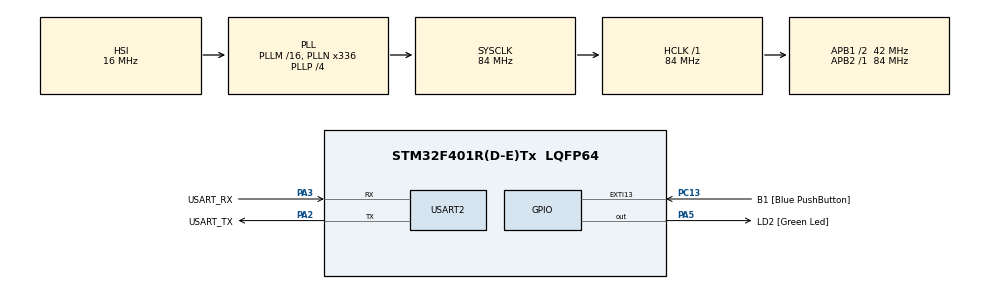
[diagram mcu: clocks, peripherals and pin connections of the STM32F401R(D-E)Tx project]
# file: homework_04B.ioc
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Dma.Request0=USART2_RX
Dma.Request1=USART2_TX
Dma.USART2_RX.0.Direction=DMA_PERIPH_TO_MEMORY
Dma.USART2_RX.0.FIFOMode=DMA_FIFOMODE_DISABLE
Dma.USART2_RX.0.Instance=DMA1_Stream5
Dma.USART2_RX.0.MemDataAlignment=DMA_MDATAALIGN_BYTE
Dma.USART2_RX.0.MemInc=DMA_MINC_ENABLE
Dma.USART2_RX.0.Mode=DMA_NORMAL
Dma.USART2_RX.0.PeriphDataAlignment=DMA_PDATAALIGN_BYTE
Dma.USART2_RX.0.PeriphInc=DMA_PINC_DISABLE
Dma.USART2_RX.0.Priority=DMA_PRIORITY_LOW
Dma.USART2_TX.1.Direction=DMA_MEMORY_TO_PERIPH
Dma.USART2_TX.1.FIFOMode=DMA_FIFOMODE_DISABLE
Dma.USART2_TX.1.Instance=DMA1_Stream6
Dma.USART2_TX.1.MemDataAlignment=DMA_MDATAALIGN_BYTE
Dma.USART2_TX.1.MemInc=DMA_MINC_ENABLE
Dma.USART2_TX.1.Mode=DMA_NORMAL
Dma.USART2_TX.1.PeriphDataAlignment=DMA_PDATAALIGN_BYTE
Dma.USART2_TX.1.PeriphInc=DMA_PINC_DISABLE
Dma.USART2_TX.1.Priority=DMA_PRIORITY_LOW
Mcu.Family=STM32F4
Mcu.Name=STM32F401R(D-E)Tx
Mcu.Package=LQFP64
NVIC.DMA1_Stream5_IRQn=true\:0\:0\:false\:false\:true\:false\:true\:true
NVIC.DMA1_Stream6_IRQn=true\:0\:0\:false\:false\:true\:false\:true\:true
NVIC.EXTI15_10_IRQn=true\:0\:0\:false\:false\:true\:true\:true\:true
NVIC.PriorityGroup=NVIC_PRIORITYGROUP_4
NVIC.USART2_IRQn=true\:0\:0\:false\:false\:true\:true\:true\:true
PA13.GPIO_Label=TMS
PA13.Mode=Trace_Asynchronous_SW
PA13.Signal=SYS_JTMS-SWDIO
PA14.GPIO_Label=TCK
PA14.Mode=Trace_Asynchronous_SW
PA14.Signal=SYS_JTCK-SWCLK
PA2.GPIO_Label=USART_TX
PA2.GPIO_Mode=GPIO_MODE_AF_PP
PA2.GPIO_PuPd=GPIO_NOPULL
PA2.GPIO_Speed=GPIO_SPEED_FREQ_LOW
PA2.Mode=Asynchronous
PA2.Signal=USART2_TX
PA3.GPIO_Label=USART_RX
PA3.GPIO_Mode=GPIO_MODE_AF_PP
PA3.GPIO_PuPd=GPIO_NOPULL
PA3.GPIO_Speed=GPIO_SPEED_FREQ_LOW
PA3.Mode=Asynchronous
PA3.Signal=USART2_RX
PA5.GPIO_Label=LD2 [Green Led]
PA5.GPIO_Mode=GPIO_MODE_OUTPUT_PP
PA5.GPIO_PuPd=GPIO_NOPULL
PA5.GPIO_Speed=GPIO_SPEED_FREQ_LOW
PA5.Signal=GPIO_Output
PB3.GPIO_Label=SWO
PB3.Mode=Trace_Asynchronous_SW
PB3.Signal=SYS_JTDO-SWO
PC13-ANTI_TAMP.GPIO_Label=B1 [Blue PushButton]
PC13-ANTI_TAMP.GPIO_ModeDefaultEXTI=GPIO_MODE_IT_FALLING
PC13-ANTI_TAMP.GPIO_PuPd=GPIO_NOPULL
PC13-ANTI_TAMP.Signal=GPXTI13
PC14-OSC32_IN.Mode=LSE-External-Oscillator
PC14-OSC32_IN.Signal=RCC_OSC32_IN
PC15-OSC32_OUT.Mode=LSE-External-Oscillator
PC15-OSC32_OUT.Signal=RCC_OSC32_OUT
PH0\ -\ OSC_IN.Mode=HSE-External-Clock-Source
PH0\ -\ OSC_IN.Signal=RCC_OSC_IN
PH1\ -\ OSC_OUT.Mode=HSE-External-Clock-Source
PH1\ -\ OSC_OUT.Signal=RCC_OSC_OUT
ProjectManager.HeapSize=0x200
ProjectManager.StackSize=0x400
ProjectManager.TargetToolchain=CMake
RCC.48MHZClocksFreq_Value=48000000
RCC.AHBFreq_Value=84000000
RCC.APB1CLKDivider=RCC_HCLK_DIV2
RCC.APB1Freq_Value=42000000
RCC.APB1TimFreq_Value=84000000
RCC.APB2Freq_Value=84000000
RCC.APB2TimFreq_Value=84000000
RCC.CortexFreq_Value=84000000
RCC.HCLKFreq_Value=84000000
RCC.HSE_VALUE=8000000
RCC.HSI_VALUE=16000000
RCC.PLLN=336
RCC.PLLP=RCC_PLLP_DIV4
RCC.PLLQ=7
RCC.SYSCLKFreq_VALUE=84000000
RCC.SYSCLKSource=RCC_SYSCLKSOURCE_PLLCLK
RCC.VCOOutputFreq_Value=336000000
USART2.VirtualMode=VM_ASYNC
board=NUCLEO-F401RE

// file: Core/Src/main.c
/* USER CODE BEGIN Header */
/**
  ******************************************************************************
  * @file           : main.c
  * @brief          : Main program body
  ******************************************************************************
  * @attention
  *
  * Copyright (c) 2026 STMicroelectronics.
  * All rights reserved.
  *
  * This software is licensed under terms that can be found in the LICENSE file
  * in the root directory of this software component.
  * If no LICENSE file comes with this software, it is provided AS-IS.
  *
  ******************************************************************************
  */
/* USER CODE END Header */
#include "main.h"

/* USER CODE BEGIN Includes */
#include <string.h>
#include <stdio.h>
/* USER CODE END Includes */

UART_HandleTypeDef huart2;
DMA_HandleTypeDef hdma_usart2_rx;
DMA_HandleTypeDef hdma_usart2_tx;

/* USER CODE BEGIN PV */
#define RX_SIZE 50
char rx[RX_SIZE];
char tx[100];
int length;
/* USER CODE END PV */

void SystemClock_Config(void);
static void MX_GPIO_Init(void);
static void MX_DMA_Init(void);
static void MX_USART2_UART_Init(void);

int main(void)
{

  /* MCU Configuration--------------------------------------------------------*/

  /* Reset of all peripherals, Initializes the Flash interface and the Systick. */
  HAL_Init();

  /* Configure the system clock */
  SystemClock_Config();

  /* Initialize all configured peripherals */
  MX_GPIO_Init();
  MX_DMA_Init();
  MX_USART2_UART_Init();
  /* USER CODE BEGIN 2 */
  HAL_UARTEx_ReceiveToIdle_DMA(&huart2, (uint8_t *)rx, sizeof(rx));
  /* USER CODE END 2 */

  /* Infinite loop */
  while (1)
  {

  }
}

void SystemClock_Config(void)
{
  RCC_OscInitTypeDef RCC_OscInitStruct = {0};
  RCC_ClkInitTypeDef RCC_ClkInitStruct = {0};

  /** Configure the main internal regulator output voltage
  */
  __HAL_RCC_PWR_CLK_ENABLE();
  __HAL_PWR_VOLTAGESCALING_CONFIG(PWR_REGULATOR_VOLTAGE_SCALE2);

  /** Initializes the RCC Oscillators according to the specified parameters
  * in the RCC_OscInitTypeDef structure.
  */
  RCC_OscInitStruct.OscillatorType = RCC_OSCILLATORTYPE_HSI;
  RCC_OscInitStruct.HSIState = RCC_HSI_ON;
  RCC_OscInitStruct.HSICalibrationValue = RCC_HSICALIBRATION_DEFAULT;
  RCC_OscInitStruct.PLL.PLLState = RCC_PLL_ON;
  RCC_OscInitStruct.PLL.PLLSource = RCC_PLLSOURCE_HSI;
  RCC_OscInitStruct.PLL.PLLM = 16;
  RCC_OscInitStruct.PLL.PLLN = 336;
  RCC_OscInitStruct.PLL.PLLP = RCC_PLLP_DIV4;
  RCC_OscInitStruct.PLL.PLLQ = 7;
  if (HAL_RCC_OscConfig(&RCC_OscInitStruct) != HAL_OK)
  {
    Error_Handler();
  }

  /** Initializes the CPU, AHB and APB buses clocks
  */
  RCC_ClkInitStruct.ClockType = RCC_CLOCKTYPE_HCLK|RCC_CLOCKTYPE_SYSCLK
                              |RCC_CLOCKTYPE_PCLK1|RCC_CLOCKTYPE_PCLK2;
  RCC_ClkInitStruct.SYSCLKSource = RCC_SYSCLKSOURCE_PLLCLK;
  RCC_ClkInitStruct.AHBCLKDivider = RCC_SYSCLK_DIV1;
  RCC_ClkInitStruct.APB1CLKDivider = RCC_HCLK_DIV2;
  RCC_ClkInitStruct.APB2CLKDivider = RCC_HCLK_DIV1;

  if (HAL_RCC_ClockConfig(&RCC_ClkInitStruct, FLASH_LATENCY_2) != HAL_OK)
  {
    Error_Handler();
  }
}

static void MX_USART2_UART_Init(void)
{

  huart2.Instance = USART2;
  huart2.Init.BaudRate = 115200;
  huart2.Init.WordLength = UART_WORDLENGTH_8B;
  huart2.Init.StopBits = UART_STOPBITS_1;
  huart2.Init.Parity = UART_PARITY_NONE;
  huart2.Init.Mode = UART_MODE_TX_RX;
  huart2.Init.HwFlowCtl = UART_HWCONTROL_NONE;
  huart2.Init.OverSampling = UART_OVERSAMPLING_16;
  if (HAL_UART_Init(&huart2) != HAL_OK)
  {
    Error_Handler();
  }

}

static void MX_DMA_Init(void)
{

  /* DMA controller clock enable */
  __HAL_RCC_DMA1_CLK_ENABLE();

  /* DMA interrupt init */
  /* DMA1_Stream5_IRQn interrupt configuration */
  HAL_NVIC_SetPriority(DMA1_Stream5_IRQn, 0, 0);
  HAL_NVIC_EnableIRQ(DMA1_Stream5_IRQn);
  /* DMA1_Stream6_IRQn interrupt configuration */
  HAL_NVIC_SetPriority(DMA1_Stream6_IRQn, 0, 0);
  HAL_NVIC_EnableIRQ(DMA1_Stream6_IRQn);

}

static void MX_GPIO_Init(void)
{
  GPIO_InitTypeDef GPIO_InitStruct = {0};

  /* GPIO Ports Clock Enable */
  __HAL_RCC_GPIOC_CLK_ENABLE();
  __HAL_RCC_GPIOH_CLK_ENABLE();
  __HAL_RCC_GPIOA_CLK_ENABLE();
  __HAL_RCC_GPIOB_CLK_ENABLE();

  /*Configure GPIO pin Output Level */
  HAL_GPIO_WritePin(LD2_GPIO_Port, LD2_Pin, GPIO_PIN_RESET);

  /*Configure GPIO pin : B1_Pin */
  GPIO_InitStruct.Pin = B1_Pin;
  GPIO_InitStruct.Mode = GPIO_MODE_IT_FALLING;
  GPIO_InitStruct.Pull = GPIO_NOPULL;
  HAL_GPIO_Init(B1_GPIO_Port, &GPIO_InitStruct);

  /*Configure GPIO pin : LD2_Pin */
  GPIO_InitStruct.Pin = LD2_Pin;
  GPIO_InitStruct.Mode = GPIO_MODE_OUTPUT_PP;
  GPIO_InitStruct.Pull = GPIO_NOPULL;
  GPIO_InitStruct.Speed = GPIO_SPEED_FREQ_LOW;
  HAL_GPIO_Init(LD2_GPIO_Port, &GPIO_InitStruct);

  /* EXTI interrupt init*/
  HAL_NVIC_SetPriority(EXTI15_10_IRQn, 0, 0);
  HAL_NVIC_EnableIRQ(EXTI15_10_IRQn);

}

/* USER CODE BEGIN 4 */
void HAL_UARTEx_RxEventCallback(UART_HandleTypeDef *huart, uint16_t Size)
{
  if (huart == &huart2)
  {
    if (Size >= sizeof(rx)) {
      Size = sizeof(rx) - 1;
    }
    rx[Size] = '\0';

    //String conversion to uppercase
    for (int i = 0; i < Size; i++)
    {
      if (rx[i] >= 'a' && rx[i] <= 'z')
      {
        rx[i] -= 32;
      }
    }

    if (strcmp(rx, "LED ON") == 0)
    {
      HAL_GPIO_WritePin(LD2_GPIO_Port, LD2_Pin, GPIO_PIN_SET);
      length = snprintf(tx, sizeof(tx), "The LED is now ON\r\n");
    }
    else if (strcmp(rx, "LED OFF") == 0)
    {
      HAL_GPIO_WritePin(LD2_GPIO_Port, LD2_Pin, GPIO_PIN_RESET);
      length = snprintf(tx, sizeof(tx), "The LED is now OFF\r\n");
    }
    else
    {
      length = snprintf(tx, sizeof(tx), "Unknown command: %s\r\nTry again!\r\n", rx);
    }

    HAL_UART_Transmit_DMA(&huart2, (uint8_t *)tx, length);
    HAL_UARTEx_ReceiveToIdle_DMA(&huart2, (uint8_t *)rx, sizeof(rx));
  }
}
/* USER CODE END 4 */

void Error_Handler(void)
{
  __disable_irq();
  while (1)
  {
  }
}
